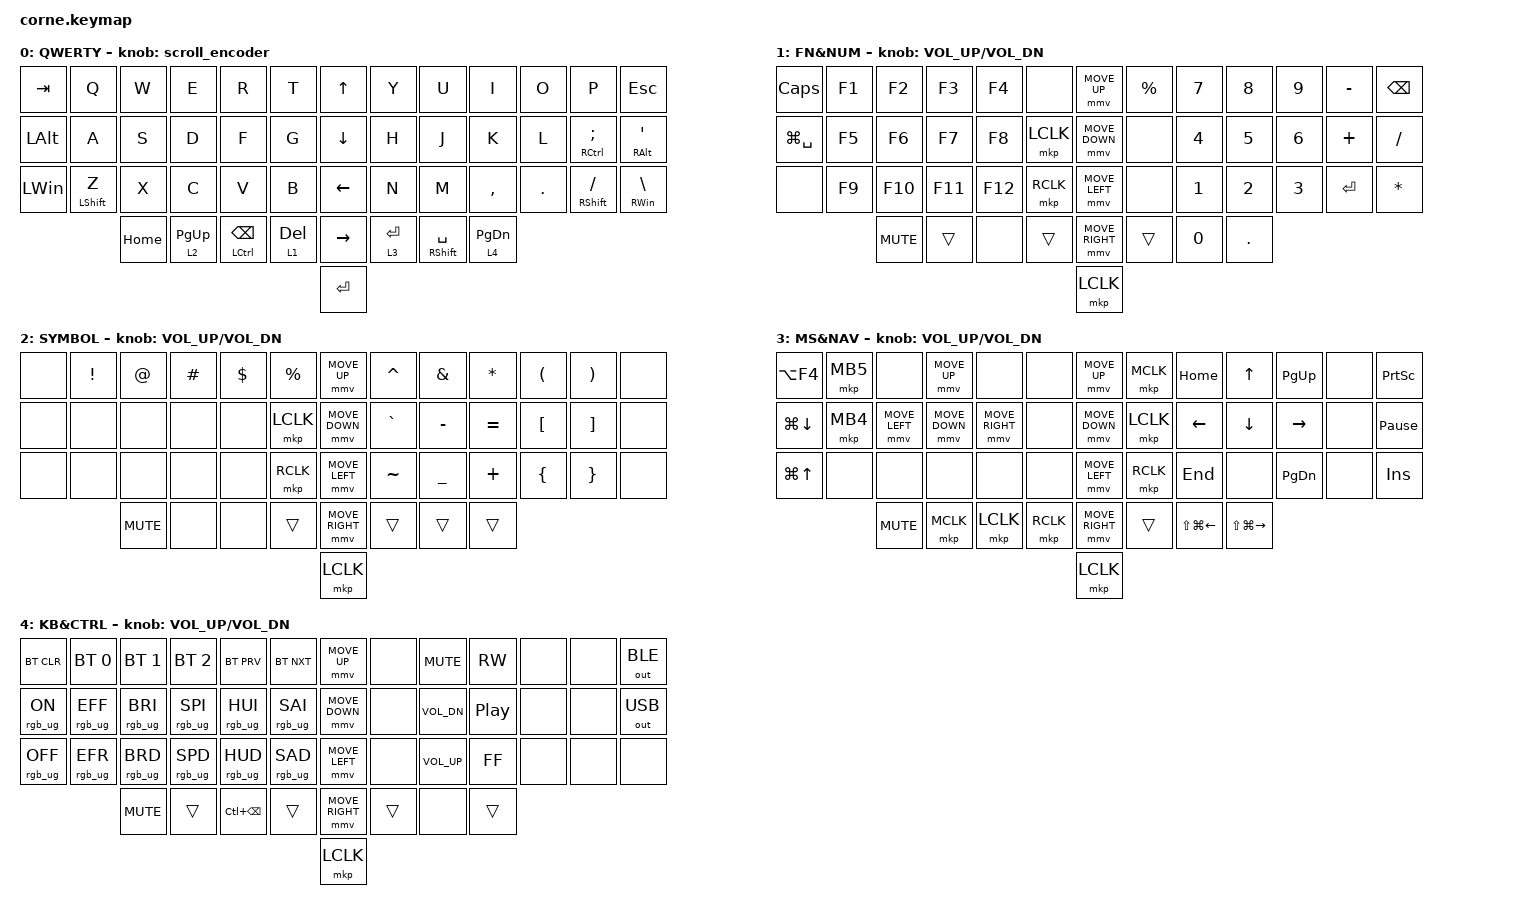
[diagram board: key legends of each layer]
#include <behaviors/mouse_keys.dtsi>
#include <dt-bindings/zmk/mouse.h>
#include <behaviors.dtsi>
#include <dt-bindings/zmk/bt.h>
#include <dt-bindings/zmk/keys.h>
#include <dt-bindings/zmk/outputs.h>
#include <dt-bindings/zmk/pointing.h>
#include <dt-bindings/zmk/pointing.h>
#include <dt-bindings/zmk/pointing.h>
#include <dt-bindings/zmk/rgb.h>

#define ZMK_MOUSE_DEFAULT_MOVE_VAL 1200  // 600
#define ZMK_MOUSE_DEFAULT_SCRL_VAL 20    // 10
#define U_MS_U &mmv MOVE_UP
#define U_MS_D &mmv MOVE_DOWN
#define U_MS_L &mmv MOVE_LEFT
#define U_MS_R &mmv MOVE_RIGHT

/ {
    behaviors {
        mmv {
            acceleration-exponent = <1>;      // 1
            time-to-max-speed-ms = <900>;    // 40
            delay-ms = <0>;                   // 0
        };

        msc {
            acceleration-exponent = <1>;      // 0
            time-to-max-speed-ms = <400>;      // 500
            delay-ms = <0>;                   // 10
        };
    };

    rgb_encoder: rgb_encoder {
        compatible = "zmk,behavior-sensor-rotate";
        label = "RGB_ENCODER";
        #sensor-binding-cells = <0>;
        bindings = <&rgb_ug RGB_BRI>, <&rgb_ug RGB_BRD>;
    };

    scroll_encoder: scroll_encoder {
        compatible = "zmk,behavior-sensor-rotate";
        #sensor-binding-cells = <0>;
        bindings = <&msc SCRL_DOWN>, <&msc SCRL_UP>;

        tap-ms = <30>;
    };

    combos {
        compatible = "zmk,combos";

        KB_Reset {
            bindings = <&gresc>;
            key-positions = <0 26 12 38>;
        };

        SysReset {
            bindings = <&sys_reset>;
            key-positions = <4 12>;
        };
    };

    keymap {
        compatible = "zmk,keymap";

        default_layer {
            display-name = "QWERTY";
            label = "QWERTY";
            bindings = <
&kp TAB   &kp Q        &kp W     &kp E        &kp R                &kp T        &kp UP_ARROW     &kp Y        &kp U             &kp I        &kp O    &kp P           &kp ESC
&kp LALT  &kp A        &kp S     &kp D        &kp F                &kp G        &kp DOWN_ARROW   &kp H        &kp J             &kp K        &kp L    &mt RCTRL SEMI  &mt RALT SQT
&kp LWIN  &mt LSHFT Z  &kp X     &kp C        &kp V                &kp B        &kp LEFT_ARROW   &kp N        &kp M             &kp COMMA    &kp DOT  &mt RSHFT FSLH  &mt RWIN BACKSLASH
                       &kp HOME  &lt 2 PG_UP  &mt LCTRL BACKSPACE  &lt 1 DEL    &kp RIGHT_ARROW  &lt 3 ENTER  &mt RSHIFT SPACE  &lt 4 PG_DN
                                                                                &kp ENTER
            >;

            sensor-bindings = <&scroll_encoder>;
        };

        lower_layer {
            display-name = "FN&NUM";
            label = "FN&NUM";
            bindings = <
&kp CAPS       &kp F1  &kp F2      &kp F3   &kp F4   &none        &mmv MOVE_UP     &kp PERCENT  &kp N7  &kp N8   &kp N9  &kp MINUS  &kp BSPC
&kp LG(SPACE)  &kp F5  &kp F6      &kp F7   &kp F8   &mkp LCLK    &mmv MOVE_DOWN   &none        &kp N4  &kp N5   &kp N6  &kp PLUS   &kp SLASH
&none          &kp F9  &kp F10     &kp F11  &kp F12  &mkp RCLK    &mmv MOVE_LEFT   &none        &kp N1  &kp N2   &kp N3  &kp ENTER  &kp ASTRK
                       &kp C_MUTE  &trans   &none    &trans       &mmv MOVE_RIGHT  &trans       &kp N0  &kp DOT
                                                                  &mkp LCLK
            >;

            sensor-bindings = <&inc_dec_kp C_VOL_UP C_VOL_DN>;
        };

        raise_layer {
            display-name = "SYMBOL";
            label = "SYMBOL";
            bindings = <
&none  &kp EXCL  &kp AT      &kp HASH  &kp DLLR  &kp PRCNT    &mmv MOVE_UP     &kp CARET  &kp AMPS   &kp ASTRK  &kp LPAR  &kp RPAR  &none
&none  &none     &none       &none     &none     &mkp LCLK    &mmv MOVE_DOWN   &kp GRAVE  &kp MINUS  &kp EQUAL  &kp LBKT  &kp RBKT  &none
&none  &none     &none       &none     &none     &mkp RCLK    &mmv MOVE_LEFT   &kp TILDE  &kp UNDER  &kp PLUS   &kp LBRC  &kp RBRC  &none
                 &kp C_MUTE  &none     &none     &trans       &mmv MOVE_RIGHT  &trans     &trans     &trans
                                                              &mkp LCLK
            >;

            sensor-bindings = <&inc_dec_kp C_VOL_UP C_VOL_DN>;
        };

        super_layer {
            display-name = "MS&NAV";
            label = "MS&NAV";
            bindings = <
&kp LA(F4)          &mkp MB5  &none           &mmv MOVE_UP    &none            &none        &mmv MOVE_UP     &mkp MCLK  &kp HOME                &kp UP_ARROW             &kp PG_UP        &none  &kp PSCRN
&kp LG(DOWN_ARROW)  &mkp MB4  &mmv MOVE_LEFT  &mmv MOVE_DOWN  &mmv MOVE_RIGHT  &none        &mmv MOVE_DOWN   &mkp LCLK  &kp LEFT_ARROW          &kp DOWN_ARROW           &kp RIGHT_ARROW  &none  &kp PAUSE_BREAK
&kp LG(UP_ARROW)    &none     &none           &none           &none            &none        &mmv MOVE_LEFT   &mkp RCLK  &kp END                 &none                    &kp PG_DN        &none  &kp INS
                              &kp C_MUTE      &mkp MCLK       &mkp LCLK        &mkp RCLK    &mmv MOVE_RIGHT  &trans     &kp LS(LG(LEFT_ARROW))  &kp LS(LG(RIGHT_ARROW))
                                                                                            &mkp LCLK
            >;

            sensor-bindings = <&inc_dec_kp C_VOL_UP C_VOL_DN>;
        };

        hyper_layer {
            label = "KB&CTRL";
            display-name = "KB&CTRL";
            bindings = <
&bt BT_CLR       &bt BT_SEL 0     &bt BT_SEL 1     &bt BT_SEL 2     &bt BT_PRV         &bt BT_NXT         &mmv MOVE_UP     &none   &kp C_MUTE    &kp C_RW  &none  &none  &out OUT_BLE
&rgb_ug RGB_ON   &rgb_ug RGB_EFF  &rgb_ug RGB_BRI  &rgb_ug RGB_SPI  &rgb_ug RGB_HUI    &rgb_ug RGB_SAI    &mmv MOVE_DOWN   &none   &kp C_VOL_DN  &kp C_PP  &none  &none  &out OUT_USB
&rgb_ug RGB_OFF  &rgb_ug RGB_EFR  &rgb_ug RGB_BRD  &rgb_ug RGB_SPD  &rgb_ug RGB_HUD    &rgb_ug RGB_SAD    &mmv MOVE_LEFT   &none   &kp C_VOL_UP  &kp C_FF  &none  &none  &none
                                  &kp C_MUTE       &trans           &kp LC(BACKSPACE)  &trans             &mmv MOVE_RIGHT  &trans  &none         &trans
                                                                                                          &mkp LCLK
            >;

            sensor-bindings = <&inc_dec_kp C_VOL_UP C_VOL_DN>;
        };
    };
};
